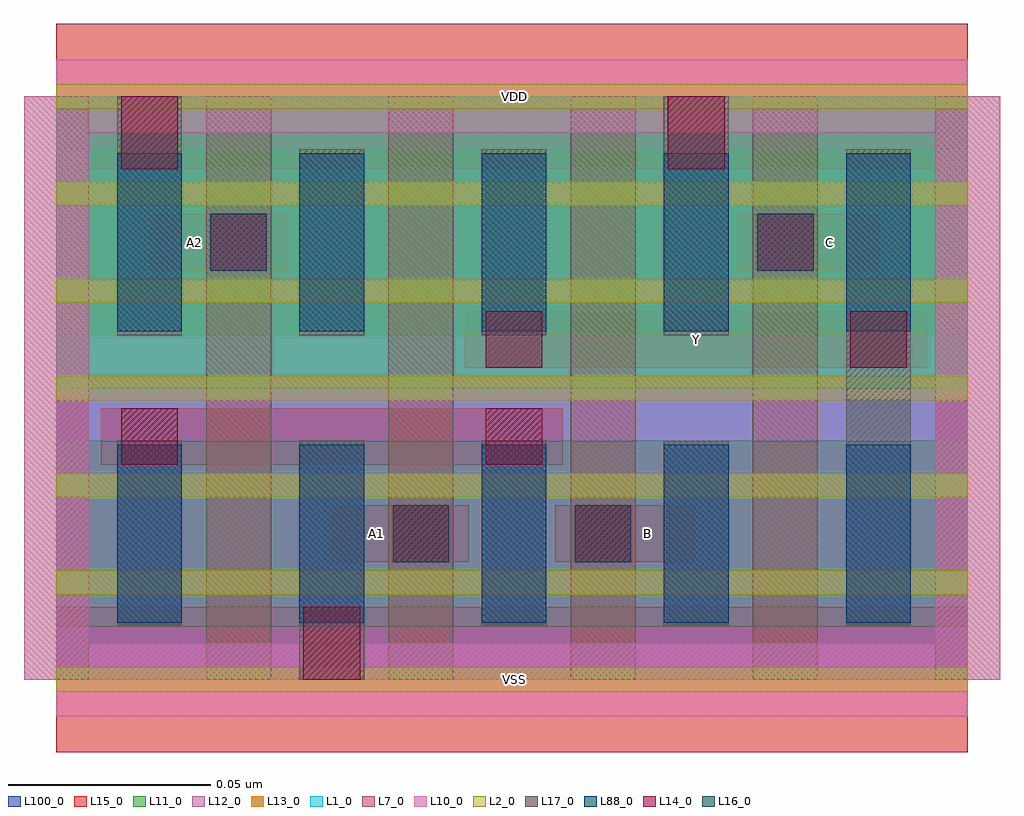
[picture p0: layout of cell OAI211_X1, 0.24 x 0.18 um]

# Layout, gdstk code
import gdstk
lib = gdstk.Library(unit=1e-6, precision=1e-09)
def R(c, l, rs):  # rectangles x0, y0, x1, y1
    for r in rs: c.add(gdstk.rectangle(r[:2], r[2:], *l))
def A(c, l, x, y, w, h, nx, ny, dx, dy):  # array of equal rectangles
    R(c, l, [(x+i*dx, y+j*dy, x+i*dx+w, y+j*dy+h) for i in range(nx) for j in range(ny)])
def P(c, l, *ps):  # polygons
    for p in ps: c.add(gdstk.Polygon(p, *l))
L1_0 = (1, 0)
L2_0 = (2, 0)
L7_0 = (7, 0)
L10_0 = (10, 0)
L11_0 = (11, 0)
L12_0 = (12, 0)
L13_0 = (13, 0)
L14_0 = (14, 0)
L15_0 = (15, 0)
L16_0 = (16, 0)
L17_0 = (17, 0)
L88_0 = (88, 0)
L100_0 = (100, 0)

oai211_x1 = lib.new_cell('OAI211_X1')
R(oai211_x1, L1_0, [(0,0.072,0.225,0.144)])
A(oai211_x1, L2_0, 0, -0.003, 0.225, 0.006, 1, 7, 0, 0.024)
A(oai211_x1, L7_0, -0.008, 0, 0.016, 0.144, 6, 1, 0.045, 0)
P(oai211_x1, L10_0, [(0,-0.009),(0,0),(-0.008,0),(-0.008,0.135),(0.008,0.135),(0.008,0.009),(0.217,0.009),(0.217,0.135),(-0.008,0.135),(-0.008,0.144),(0,0.144),(0,0.153),(0.225,0.153),(0.225,0.144),(0.233,0.144),(0.233,0),(0.225,0),(0.225,-0.009)])
R(oai211_x1, L11_0, [(0,0.013,0.225,0.059), (0,0.085,0.225,0.131)])
R(oai211_x1, L12_0, [(0,0,0.225,0.072)])
R(oai211_x1, L13_0, [(0,0.072,0.225,0.144)])
R(oai211_x1, L14_0, [(0.061,0,0.075,0.018), (0.083,0.029,0.097,0.043), (0.128,0.029,0.142,0.043), (0.016,0.053,0.03,0.067), (0.106,0.053,0.12,0.067), (0.106,0.077,0.12,0.091), (0.196,0.077,0.21,0.091), (0.038,0.101,0.052,0.115), (0.173,0.101,0.187,0.115), (0.016,0.126,0.03,0.144), (0.151,0.126,0.165,0.144)])
R(oai211_x1, L15_0, [(0,-0.018,0.225,0.018), (0.068,0.029,0.102,0.043), (0.123,0.029,0.158,0.043), (0.011,0.053,0.125,0.067), (0.101,0.077,0.215,0.091), (0.023,0.101,0.057,0.115), (0.168,0.101,0.203,0.115), (0,0.126,0.225,0.162)])
R(oai211_x1, L16_0, [(0.083,0.029,0.097,0.043), (0.128,0.029,0.142,0.043), (0.038,0.101,0.052,0.115), (0.173,0.101,0.187,0.115)])
R(oai211_x1, L17_0, [(0.06,0,0.076,0.059), (0.015,0.013,0.031,0.059), (0.105,0.013,0.121,0.059), (0.15,0.013,0.166,0.059), (0.195,0.013,0.211,0.131), (0.015,0.085,0.031,0.144), (0.06,0.085,0.076,0.131), (0.105,0.085,0.121,0.131), (0.15,0.085,0.166,0.144)])
A(oai211_x1, L88_0, 0.015, 0.014, 0.016, 0.044, 5, 2, 0.045, 0.072)
R(oai211_x1, L100_0, [(0,0,0.225,0.144)])
oai211_x1.add(gdstk.Label('C', (0.191,0.108), layer=15, texttype=251))
oai211_x1.add(gdstk.Label('VSS', (0.113,0), layer=15, texttype=251))
oai211_x1.add(gdstk.Label('VDD', (0.113,0.144), layer=15, texttype=251))
oai211_x1.add(gdstk.Label('Y', (0.158,0.084), layer=15, texttype=251))
oai211_x1.add(gdstk.Label('VSS', (0.113,0), layer=15, texttype=251))
oai211_x1.add(gdstk.Label('VDD', (0.113,0.144), layer=15, texttype=251))
oai211_x1.add(gdstk.Label('A1', (0.079,0.036), layer=15, texttype=251))
oai211_x1.add(gdstk.Label('VSS', (0.113,0), layer=15, texttype=251))
oai211_x1.add(gdstk.Label('VDD', (0.113,0.144), layer=15, texttype=251))
oai211_x1.add(gdstk.Label('B', (0.146,0.036), layer=15, texttype=251))
oai211_x1.add(gdstk.Label('VSS', (0.113,0), layer=15, texttype=251))
oai211_x1.add(gdstk.Label('VDD', (0.113,0.144), layer=15, texttype=251))
oai211_x1.add(gdstk.Label('A2', (0.034,0.108), layer=15, texttype=251))
oai211_x1.add(gdstk.Label('VSS', (0.113,0), layer=15, texttype=251))
oai211_x1.add(gdstk.Label('VDD', (0.113,0.144), layer=15, texttype=251))
oai211_x1.add(gdstk.Label('VSS', (0.113,0), layer=3, texttype=251))
oai211_x1.add(gdstk.Label('VSS', (0.113,0), layer=3, texttype=251))
oai211_x1.add(gdstk.Label('VSS', (0.113,0), layer=3, texttype=251))
oai211_x1.add(gdstk.Label('VSS', (0.113,0), layer=3, texttype=251))
oai211_x1.add(gdstk.Label('VSS', (0.113,0), layer=3, texttype=251))
oai211_x1.add(gdstk.Label('VDD', (0.113,0.144), layer=1, texttype=251))
oai211_x1.add(gdstk.Label('VDD', (0.113,0.144), layer=1, texttype=251))
oai211_x1.add(gdstk.Label('VDD', (0.113,0.144), layer=1, texttype=251))
oai211_x1.add(gdstk.Label('VDD', (0.113,0.144), layer=1, texttype=251))
oai211_x1.add(gdstk.Label('VDD', (0.113,0.144), layer=1, texttype=251))

lib.write_gds('OAI211_X1.gds')
